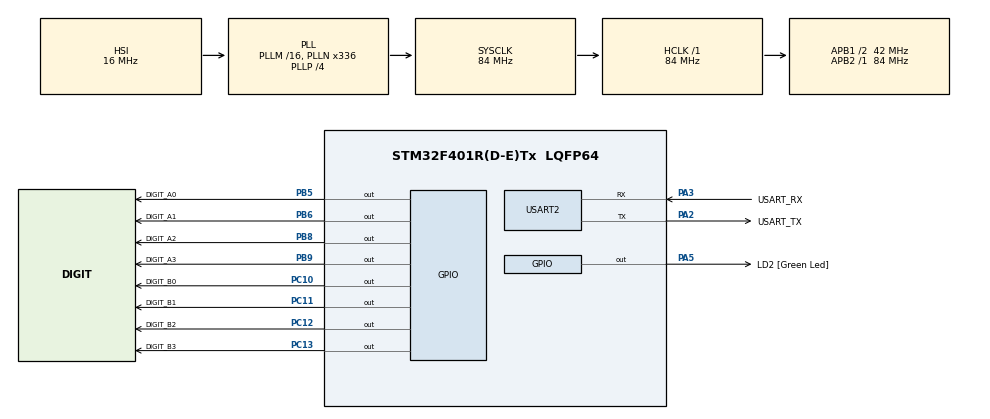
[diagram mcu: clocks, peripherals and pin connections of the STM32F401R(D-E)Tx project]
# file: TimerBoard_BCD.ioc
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Mcu.Family=STM32F4
Mcu.Name=STM32F401R(D-E)Tx
Mcu.Package=LQFP64
NVIC.PriorityGroup=NVIC_PRIORITYGROUP_0
PA13.GPIO_Label=TMS
PA13.Mode=Serial_Wire
PA13.Signal=SYS_JTMS-SWDIO
PA14.GPIO_Label=TCK
PA14.Mode=Serial_Wire
PA14.Signal=SYS_JTCK-SWCLK
PA2.GPIO_Label=USART_TX
PA2.GPIO_Mode=GPIO_MODE_AF_PP
PA2.GPIO_PuPd=GPIO_NOPULL
PA2.GPIO_Speed=GPIO_SPEED_FREQ_LOW
PA2.Mode=Asynchronous
PA2.Signal=USART2_TX
PA3.GPIO_Label=USART_RX
PA3.GPIO_Mode=GPIO_MODE_AF_PP
PA3.GPIO_PuPd=GPIO_NOPULL
PA3.GPIO_Speed=GPIO_SPEED_FREQ_LOW
PA3.Mode=Asynchronous
PA3.Signal=USART2_RX
PA5.GPIO_Label=LD2 [Green Led]
PA5.GPIO_Mode=GPIO_MODE_OUTPUT_PP
PA5.GPIO_PuPd=GPIO_NOPULL
PA5.GPIO_Speed=GPIO_SPEED_FREQ_LOW
PA5.Signal=GPIO_Output
PB3.GPIO_Label=SWO
PB3.Signal=SYS_JTDO-SWO
PB5.GPIO_Label=DIGIT_A0
PB5.Signal=GPIO_Output
PB6.GPIO_Label=DIGIT_A1
PB6.Signal=GPIO_Output
PB8.GPIO_Label=DIGIT_A2
PB8.Signal=GPIO_Output
PB9.GPIO_Label=DIGIT_A3
PB9.GPIO_PuPd=GPIO_NOPULL
PB9.GPIO_Speed=GPIO_SPEED_FREQ_LOW
PB9.Signal=GPIO_Output
PC10.GPIO_Label=DIGIT_B0
PC10.Signal=GPIO_Output
PC11.GPIO_Label=DIGIT_B1
PC11.Signal=GPIO_Output
PC12.GPIO_Label=DIGIT_B2
PC12.Signal=GPIO_Output
PC13-ANTI_TAMP.GPIO_Label=DIGIT_B3
PC13-ANTI_TAMP.Signal=GPIO_Output
PC14-OSC32_IN.Mode=LSE-External-Oscillator
PC14-OSC32_IN.Signal=RCC_OSC32_IN
PC15-OSC32_OUT.Mode=LSE-External-Oscillator
PC15-OSC32_OUT.Signal=RCC_OSC32_OUT
PH0\ -\ OSC_IN.Mode=HSE-External-Clock-Source
PH0\ -\ OSC_IN.Signal=RCC_OSC_IN
PH1\ -\ OSC_OUT.Mode=HSE-External-Clock-Source
PH1\ -\ OSC_OUT.Signal=RCC_OSC_OUT
ProjectManager.HeapSize=0x200
ProjectManager.StackSize=0x400
ProjectManager.TargetToolchain=STM32CubeIDE
RCC.48MHZClocksFreq_Value=48000000
RCC.AHBFreq_Value=84000000
RCC.APB1CLKDivider=RCC_HCLK_DIV2
RCC.APB1Freq_Value=42000000
RCC.APB1TimFreq_Value=84000000
RCC.APB2Freq_Value=84000000
RCC.APB2TimFreq_Value=84000000
RCC.CortexFreq_Value=84000000
RCC.HCLKFreq_Value=84000000
RCC.HSE_VALUE=8000000
RCC.HSI_VALUE=16000000
RCC.PLLN=336
RCC.PLLP=RCC_PLLP_DIV4
RCC.PLLQ=7
RCC.SYSCLKFreq_VALUE=84000000
RCC.SYSCLKSource=RCC_SYSCLKSOURCE_PLLCLK
RCC.VCOOutputFreq_Value=336000000
USART2.VirtualMode=VM_ASYNC
board=NUCLEO-F401RE

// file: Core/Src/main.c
/* USER CODE BEGIN Header */
/**
  ******************************************************************************
  * @file           : main.c
  * @brief          : Main program body
  ******************************************************************************
  * @attention
  *
  * Copyright (c) 2024 STMicroelectronics.
  * All rights reserved.
  *
  * This software is licensed under terms that can be found in the LICENSE file
  * in the root directory of this software component.
  * If no LICENSE file comes with this software, it is provided AS-IS.
  *
  ******************************************************************************
  */
/* USER CODE END Header */
#include "main.h"

UART_HandleTypeDef huart2;

void SystemClock_Config(void);
static void MX_GPIO_Init(void);
static void MX_USART2_UART_Init(void);

int main(void)
{
  /* USER CODE BEGIN 1 */
  uint8_t ones, tens;
  /* USER CODE END 1 */

  /* MCU Configuration--------------------------------------------------------*/

  /* Reset of all peripherals, Initializes the Flash interface and the Systick. */
  HAL_Init();

  /* Configure the system clock */
  SystemClock_Config();

  /* Initialize all configured peripherals */
  MX_GPIO_Init();
  MX_USART2_UART_Init();

  /* Infinite loop */
  uint16_t binary_counter = 0;
  /* USER CODE BEGIN WHILE */
  while (1)
  {
    /* Increment the binary counter */
    binary_counter++;
    if (binary_counter > 99)
    {
      binary_counter = 0;
    }

    /* Convert the counter value to BCD */
    tens = binary_counter / 10;
    ones = binary_counter % 10;

    /* Set the BCD values to the GPIO pins */
    HAL_GPIO_WritePin(GPIOB, DIGIT_A0_Pin, (tens & 0x01) ? GPIO_PIN_SET : GPIO_PIN_RESET);
    HAL_GPIO_WritePin(GPIOB, DIGIT_A1_Pin, (tens & 0x02) ? GPIO_PIN_SET : GPIO_PIN_RESET);
    HAL_GPIO_WritePin(GPIOB, DIGIT_A2_Pin, (tens & 0x04) ? GPIO_PIN_SET : GPIO_PIN_RESET);
    HAL_GPIO_WritePin(GPIOB, DIGIT_A3_Pin, (tens & 0x08) ? GPIO_PIN_SET : GPIO_PIN_RESET);

    HAL_GPIO_WritePin(GPIOC, DIGIT_B0_Pin, (ones & 0x01) ? GPIO_PIN_SET : GPIO_PIN_RESET);
    HAL_GPIO_WritePin(GPIOC, DIGIT_B1_Pin, (ones & 0x02) ? GPIO_PIN_SET : GPIO_PIN_RESET);
    HAL_GPIO_WritePin(GPIOC, DIGIT_B2_Pin, (ones & 0x04) ? GPIO_PIN_SET : GPIO_PIN_RESET);
    HAL_GPIO_WritePin(GPIOC, DIGIT_B3_Pin, (ones & 0x08) ? GPIO_PIN_SET : GPIO_PIN_RESET);

    /* Delay to simulate the counting speed */
    HAL_Delay(100);

    /* USER CODE END WHILE */

  }
}

void SystemClock_Config(void)
{
  RCC_OscInitTypeDef RCC_OscInitStruct = {0};
  RCC_ClkInitTypeDef RCC_ClkInitStruct = {0};

  /** Configure the main internal regulator output voltage
  */
  __HAL_RCC_PWR_CLK_ENABLE();
  __HAL_PWR_VOLTAGESCALING_CONFIG(PWR_REGULATOR_VOLTAGE_SCALE2);

  /** Initializes the RCC Oscillators according to the specified parameters
  * in the RCC_OscInitTypeDef structure.
  */
  RCC_OscInitStruct.OscillatorType = RCC_OSCILLATORTYPE_HSI;
  RCC_OscInitStruct.HSIState = RCC_HSI_ON;
  RCC_OscInitStruct.HSICalibrationValue = RCC_HSICALIBRATION_DEFAULT;
  RCC_OscInitStruct.PLL.PLLState = RCC_PLL_ON;
  RCC_OscInitStruct.PLL.PLLSource = RCC_PLLSOURCE_HSI;
  RCC_OscInitStruct.PLL.PLLM = 16;
  RCC_OscInitStruct.PLL.PLLN = 336;
  RCC_OscInitStruct.PLL.PLLP = RCC_PLLP_DIV4;
  RCC_OscInitStruct.PLL.PLLQ = 7;
  if (HAL_RCC_OscConfig(&RCC_OscInitStruct) != HAL_OK)
  {
    Error_Handler();
  }

  /** Initializes the CPU, AHB and APB buses clocks
  */
  RCC_ClkInitStruct.ClockType = RCC_CLOCKTYPE_HCLK|RCC_CLOCKTYPE_SYSCLK
                              |RCC_CLOCKTYPE_PCLK1|RCC_CLOCKTYPE_PCLK2;
  RCC_ClkInitStruct.SYSCLKSource = RCC_SYSCLKSOURCE_PLLCLK;
  RCC_ClkInitStruct.AHBCLKDivider = RCC_SYSCLK_DIV1;
  RCC_ClkInitStruct.APB1CLKDivider = RCC_HCLK_DIV2;
  RCC_ClkInitStruct.APB2CLKDivider = RCC_HCLK_DIV1;

  if (HAL_RCC_ClockConfig(&RCC_ClkInitStruct, FLASH_LATENCY_2) != HAL_OK)
  {
    Error_Handler();
  }
}

static void MX_USART2_UART_Init(void)
{

  huart2.Instance = USART2;
  huart2.Init.BaudRate = 115200;
  huart2.Init.WordLength = UART_WORDLENGTH_8B;
  huart2.Init.StopBits = UART_STOPBITS_1;
  huart2.Init.Parity = UART_PARITY_NONE;
  huart2.Init.Mode = UART_MODE_TX_RX;
  huart2.Init.HwFlowCtl = UART_HWCONTROL_NONE;
  huart2.Init.OverSampling = UART_OVERSAMPLING_16;
  if (HAL_UART_Init(&huart2) != HAL_OK)
  {
    Error_Handler();
  }

}

static void MX_GPIO_Init(void)
{
  GPIO_InitTypeDef GPIO_InitStruct = {0};

  /* GPIO Ports Clock Enable */
  __HAL_RCC_GPIOC_CLK_ENABLE();
  __HAL_RCC_GPIOH_CLK_ENABLE();
  __HAL_RCC_GPIOA_CLK_ENABLE();
  __HAL_RCC_GPIOB_CLK_ENABLE();

  /*Configure GPIO pin Output Level */
  HAL_GPIO_WritePin(GPIOC, DIGIT_B3_Pin|DIGIT_B0_Pin|DIGIT_B1_Pin|DIGIT_B2_Pin, GPIO_PIN_RESET);

  /*Configure GPIO pin Output Level */
  HAL_GPIO_WritePin(LD2_GPIO_Port, LD2_Pin, GPIO_PIN_RESET);

  /*Configure GPIO pin Output Level */
  HAL_GPIO_WritePin(GPIOB, DIGIT_A0_Pin|DIGIT_A1_Pin|DIGIT_A2_Pin|DIGIT_A3_Pin, GPIO_PIN_RESET);

  /*Configure GPIO pins : DIGIT_B3_Pin DIGIT_B0_Pin DIGIT_B1_Pin DIGIT_B2_Pin */
  GPIO_InitStruct.Pin = DIGIT_B3_Pin|DIGIT_B0_Pin|DIGIT_B1_Pin|DIGIT_B2_Pin;
  GPIO_InitStruct.Mode = GPIO_MODE_OUTPUT_PP;
  GPIO_InitStruct.Pull = GPIO_NOPULL;
  GPIO_InitStruct.Speed = GPIO_SPEED_FREQ_LOW;
  HAL_GPIO_Init(GPIOC, &GPIO_InitStruct);

  /*Configure GPIO pin : LD2_Pin */
  GPIO_InitStruct.Pin = LD2_Pin;
  GPIO_InitStruct.Mode = GPIO_MODE_OUTPUT_PP;
  GPIO_InitStruct.Pull = GPIO_NOPULL;
  GPIO_InitStruct.Speed = GPIO_SPEED_FREQ_LOW;
  HAL_GPIO_Init(LD2_GPIO_Port, &GPIO_InitStruct);

  /*Configure GPIO pins : DIGIT_A0_Pin DIGIT_A1_Pin DIGIT_A2_Pin DIGIT_A3_Pin */
  GPIO_InitStruct.Pin = DIGIT_A0_Pin|DIGIT_A1_Pin|DIGIT_A2_Pin|DIGIT_A3_Pin;
  GPIO_InitStruct.Mode = GPIO_MODE_OUTPUT_PP;
  GPIO_InitStruct.Pull = GPIO_NOPULL;
  GPIO_InitStruct.Speed = GPIO_SPEED_FREQ_LOW;
  HAL_GPIO_Init(GPIOB, &GPIO_InitStruct);

}

void Error_Handler(void)
{
  __disable_irq();
  while (1)
  {
  }
}
